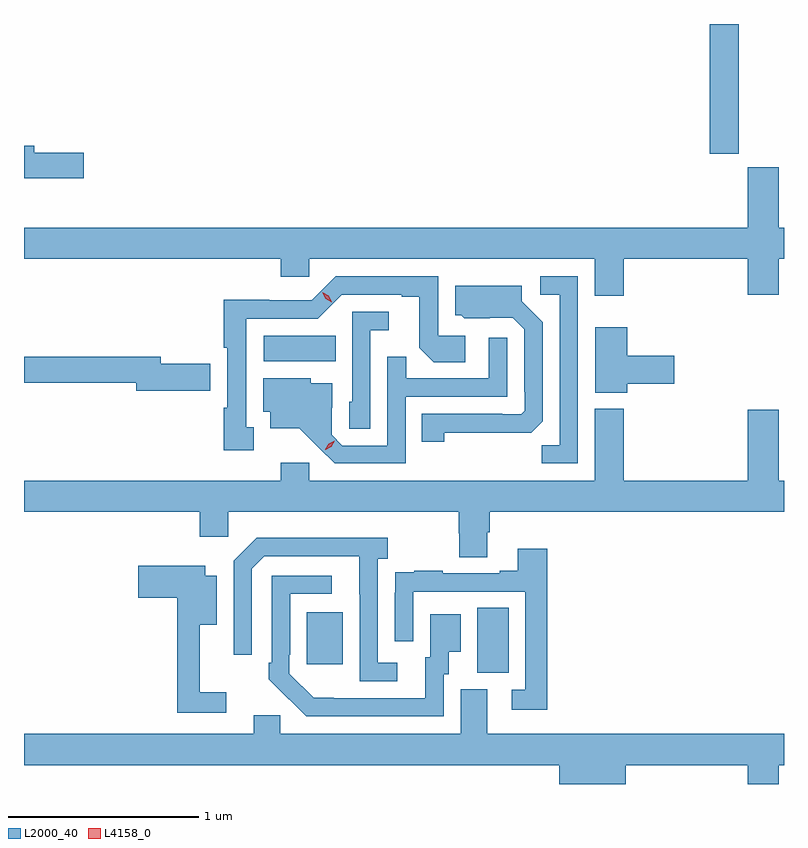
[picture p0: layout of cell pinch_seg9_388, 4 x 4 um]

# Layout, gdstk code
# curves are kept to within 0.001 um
import gdstk
lib = gdstk.Library(unit=1e-6, precision=1e-09)
def R(c, l, rs):  # rectangles x0, y0, x1, y1
    for r in rs: c.add(gdstk.rectangle(r[:2], r[2:], *l))
def P(c, l, *ps):  # polygons
    for p in ps: c.add(gdstk.Polygon(p, *l))
L2000_40 = (2000, 40)
L4158_0 = (4158, 0)

pinch_seg9_388 = lib.new_cell('pinch_seg9_388')
R(pinch_seg9_388, L2000_40, [(331.418,1232.869,331.582,1233.212), (330.521,1232.913,330.709,1233.187), (330.294,1234.508,330.674,1234.642), (332.642,1235.601,332.794,1236.284)])
P(pinch_seg9_388, L2000_40, [(329.347,1235.606),(329.086,1235.606),(329.086,1235.642),(329.032,1235.642),(329.032,1235.471),(329.347,1235.471)],
  [(332.189,1235.048),(332.84,1235.048),(332.84,1234.86),(333.004,1234.86),(333.004,1235.048),(333.032,1235.048),(333.032,1235.212),(333.004,1235.212),(333.004,1235.529),(332.84,1235.529),(332.84,1235.212),(329.032,1235.212),(329.032,1235.048),(330.383,1235.048),(330.383,1234.955),(330.534,1234.955),(330.534,1235.048),(332.036,1235.048),(332.036,1234.854),(332.189,1234.854)],
  [(331.947,1234.956),(331.749,1234.956),(331.749,1234.86),(331.851,1234.86),(331.851,1234.067),(331.756,1234.067),(331.756,1233.972),(331.947,1233.972)],
  [(330.241,1234.161),(330.202,1234.161),(330.202,1234.734),(330.579,1234.734),(330.705,1234.86),(331.019,1234.86),(331.019,1234.848),(331.113,1234.848),(331.113,1234.58),(331.189,1234.504),(331.354,1234.504),(331.354,1234.644),(331.212,1234.644),(331.212,1234.956),(330.672,1234.956),(330.546,1234.83),(330.324,1234.83),(330.324,1234.832),(330.084,1234.832),(330.084,1234.579),(330.101,1234.579),(330.101,1234.265),(330.084,1234.265),(330.084,1234.041),(330.241,1234.041)],
  [(331.245,1234.132),(331.702,1234.133),(331.761,1234.192),(331.761,1234.714),(331.651,1234.824),(331.651,1234.906),(331.301,1234.906),(331.301,1234.752),(331.332,1234.752),(331.348,1234.736),(331.605,1234.737),(331.665,1234.677),(331.665,1234.348),(331.668,1234.348),(331.668,1234.248),(331.65,1234.23),(331.55,1234.23),(331.55,1234.233),(331.126,1234.233),(331.126,1234.086),(331.245,1234.086)],
  [(330.855,1234.673),(330.952,1234.673),(330.952,1234.77),(330.759,1234.77),(330.759,1234.296),(330.744,1234.296),(330.744,1234.153),(330.855,1234.153)],
  [(332.206,1234.391),(332.455,1234.391),(332.455,1234.538),(332.206,1234.538),(332.206,1234.687),(332.039,1234.687),(332.039,1234.343),(332.206,1234.343)],
  [(331.041,1234.323),(331.575,1234.323),(331.575,1234.633),(331.479,1234.633),(331.479,1234.419),(331.043,1234.419),(331.043,1234.532),(330.945,1234.532),(330.945,1234.065),(330.708,1234.065),(330.651,1234.122),(330.651,1234.264),(330.655,1234.264),(330.655,1234.393),(330.54,1234.393),(330.54,1234.42),(330.29,1234.42),(330.29,1234.244),(330.329,1234.244),(330.329,1234.157),(330.481,1234.157),(330.668,1233.972),(331.041,1233.972)],
  [(330.013,1234.496),(329.752,1234.496),(329.752,1234.532),(329.032,1234.532),(329.032,1234.396),(329.624,1234.396),(329.624,1234.354),(330.013,1234.354)],
  [(331.471,1233.61),(331.484,1233.61),(331.484,1233.716),(333.032,1233.716),(333.032,1233.88),(333.004,1233.88),(333.004,1234.255),(332.84,1234.255),(332.84,1233.88),(332.189,1233.88),(332.189,1234.258),(332.036,1234.258),(332.036,1233.88),(330.534,1233.88),(330.534,1233.976),(330.383,1233.976),(330.383,1233.88),(329.032,1233.88),(329.032,1233.716),(329.957,1233.716),(329.957,1233.585),(330.108,1233.585),(330.108,1233.716),(331.319,1233.716),(331.319,1233.603),(331.324,1233.603),(331.324,1233.478),(331.471,1233.478)],
  [(330.997,1232.922),(330.894,1232.922),(330.894,1233.47),(330.946,1233.47),(330.946,1233.58),(330.256,1233.58),(330.135,1233.459),(330.135,1232.964),(330.231,1232.964),(330.231,1233.417),(330.297,1233.483),(330.797,1233.483),(330.798,1232.826),(330.997,1232.826)],
  [(331.787,1233.523),(331.631,1233.523),(331.631,1233.406),(331.535,1233.406),(331.535,1233.393),(331.235,1233.393),(331.235,1233.406),(331.087,1233.406),(331.087,1233.399),(330.985,1233.399),(330.985,1233.29),(330.984,1233.29),(330.984,1233.036),(331.08,1233.036),(331.08,1233.297),(331.671,1233.297),(331.671,1232.781),(331.599,1232.781),(331.599,1232.676),(331.787,1232.676)],
  [(330.097,1232.767),(329.957,1232.767),(329.957,1233.122),(330.046,1233.122),(330.046,1233.379),(329.986,1233.379),(329.986,1233.433),(329.634,1233.433),(329.634,1233.263),(329.839,1233.263),(329.839,1232.658),(330.097,1232.658)],
  [(331.242,1232.862),(331.267,1232.862),(331.267,1232.981),(331.33,1232.981),(331.33,1233.178),(331.169,1233.178),(331.169,1232.952),(331.145,1232.952),(331.145,1232.736),(330.558,1232.737),(330.429,1232.865),(330.429,1232.965),(330.432,1232.965),(330.432,1233.285),(330.652,1233.285),(330.652,1233.381),(330.336,1233.381),(330.336,1232.923),(330.321,1232.923),(330.321,1232.835),(330.518,1232.64),(331.242,1232.64)],
  [(332.2,1232.384),(332.84,1232.384),(332.84,1232.284),(333.004,1232.284),(333.004,1232.384),(333.032,1232.384),(333.032,1232.548),(331.471,1232.548),(331.471,1232.784),(331.331,1232.784),(331.331,1232.548),(330.381,1232.548),(330.381,1232.646),(330.242,1232.646),(330.242,1232.548),(329.032,1232.548),(329.032,1232.384),(331.85,1232.384),(331.85,1232.284),(332.2,1232.284)])
P(pinch_seg9_388, L4158_0, [(330.618,1234.044),(330.618,1234.045),(330.636,1234.074),(330.667,1234.09),(330.667,1234.09),(330.667,1234.09),(330.65,1234.06),(330.619,1234.044)],
  [(330.652,1234.82),(330.62,1234.839),(330.602,1234.872),(330.602,1234.872),(330.603,1234.872),(330.635,1234.853),(330.652,1234.821),(330.652,1234.82)])

lib.write_gds('pinch_seg9_388.gds')
